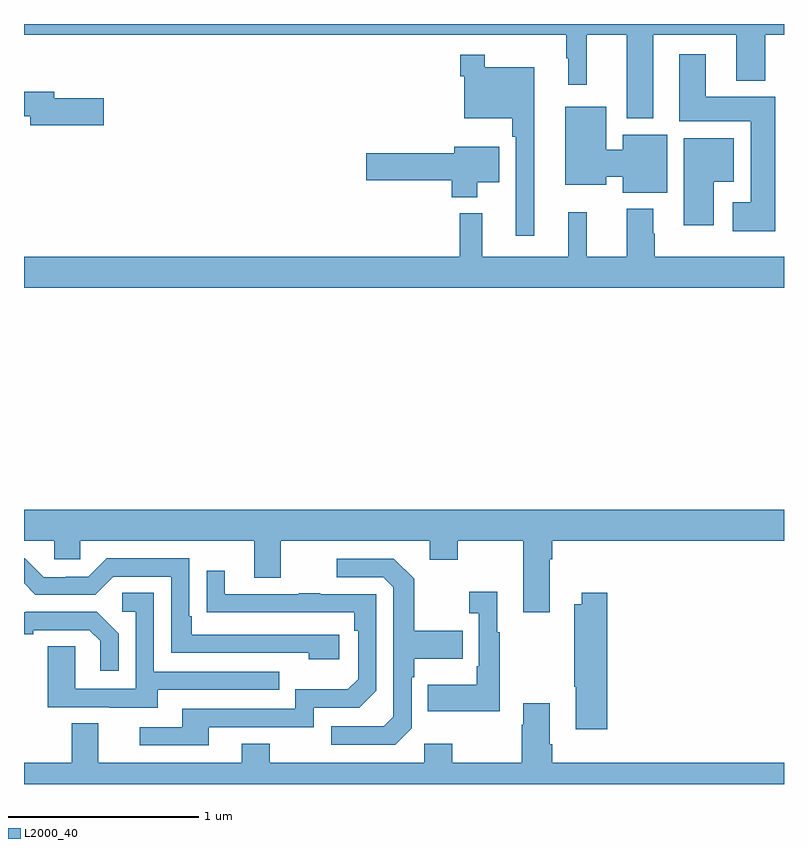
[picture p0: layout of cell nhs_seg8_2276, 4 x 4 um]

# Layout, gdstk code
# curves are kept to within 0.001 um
import gdstk
lib = gdstk.Library(unit=1e-6, precision=1e-09)
def P(c, l, *ps):  # polygons
    for p in ps: c.add(gdstk.Polygon(p, *l))
L2000_40 = (2000, 40)

nhs_seg8_2276 = lib.new_cell('nhs_seg8_2276')
P(nhs_seg8_2276, L2000_40, [(258.313,1105.844),(258.749,1105.844),(258.749,1105.601),(258.902,1105.601),(258.902,1105.844),(259,1105.844),(259,1105.9),(255,1105.9),(255,1105.844),(257.853,1105.844),(257.853,1105.721),(257.864,1105.721),(257.864,1105.581),(257.963,1105.581),(257.963,1105.844),(258.173,1105.844),(258.173,1105.403),(258.313,1105.403)],
  [(258.954,1105.516),(258.589,1105.516),(258.589,1105.741),(258.449,1105.741),(258.449,1105.388),(258.824,1105.388),(258.824,1104.961),(258.729,1104.961),(258.729,1104.809),(258.954,1104.809)],
  [(257.686,1105.672),(257.425,1105.672),(257.425,1105.738),(257.296,1105.738),(257.296,1105.625),(257.316,1105.625),(257.316,1105.403),(257.569,1105.403),(257.569,1105.307),(257.589,1105.307),(257.589,1104.786),(257.686,1104.786)],
  [(255.421,1105.509),(255.16,1105.509),(255.16,1105.543),(255,1105.543),(255,1105.414),(255.032,1105.414),(255.032,1105.367),(255.421,1105.367)],
  [(258.385,1105.318),(258.152,1105.318),(258.152,1105.238),(258.064,1105.238),(258.064,1105.465),(257.849,1105.465),(257.849,1105.055),(258.064,1105.055),(258.064,1105.096),(258.152,1105.096),(258.152,1105.013),(258.385,1105.013)],
  [(258.631,1105.07),(258.736,1105.07),(258.736,1105.3),(258.473,1105.3),(258.473,1104.84),(258.631,1104.84)],
  [(257.386,1105.067),(257.5,1105.067),(257.5,1105.255),(257.264,1105.255),(257.264,1105.22),(256.8,1105.22),(256.8,1105.078),(257.252,1105.078),(257.252,1104.989),(257.386,1104.989)],
  [(259,1104.676),(258.321,1104.676),(258.321,1104.797),(258.313,1104.797),(258.313,1104.928),(258.173,1104.928),(258.173,1104.676),(257.963,1104.676),(257.963,1104.91),(257.864,1104.91),(257.864,1104.676),(257.411,1104.676),(257.411,1104.904),(257.293,1104.904),(257.293,1104.676),(255,1104.676),(255,1104.512),(259,1104.512)],
  [(257.767,1103.084),(257.779,1103.084),(257.779,1103.18),(259,1103.18),(259,1103.344),(255,1103.344),(255,1103.18),(255.159,1103.18),(255.159,1103.082),(255.297,1103.082),(255.297,1103.18),(256.211,1103.18),(256.211,1102.986),(256.351,1102.986),(256.351,1103.18),(257.135,1103.18),(257.135,1103.081),(257.283,1103.081),(257.283,1103.18),(257.627,1103.18),(257.627,1102.803),(257.767,1102.803)],
  [(256.66,1102.686),(255.883,1102.686),(255.883,1102.783),(255.87,1102.783),(255.87,1103.088),(255.435,1103.088),(255.339,1102.992),(255.221,1102.992),(255.221,1102.989),(255.105,1102.989),(255.005,1103.089),(255,1103.089),(255,1102.956),(255.06,1102.896),(255.375,1102.896),(255.471,1102.992),(255.774,1102.992),(255.774,1102.59),(256.499,1102.59),(256.499,1102.556),(256.66,1102.556)],
  [(257.04,1102.194),(257.04,1102.463),(257.053,1102.463),(257.053,1102.559),(257.309,1102.559),(257.309,1102.707),(257.053,1102.707),(257.053,1102.979),(256.947,1103.085),(256.647,1103.085),(256.647,1102.989),(256.89,1102.989),(256.944,1102.935),(256.944,1102.254),(256.893,1102.203),(256.617,1102.203),(256.617,1102.107),(256.953,1102.107)],
  [(255.973,1102.2),(256.524,1102.2),(256.524,1102.302),(256.764,1102.302),(256.854,1102.392),(256.854,1102.899),(256.559,1102.899),(256.559,1102.904),(256.447,1102.904),(256.447,1102.899),(256.057,1102.899),(256.057,1103.023),(255.961,1103.023),(255.961,1102.804),(256.738,1102.803),(256.738,1102.706),(256.758,1102.706),(256.758,1102.452),(256.705,1102.399),(256.428,1102.399),(256.428,1102.296),(255.833,1102.296),(255.833,1102.2),(255.609,1102.2),(255.609,1102.104),(255.973,1102.104)],
  [(257.503,1102.699),(257.491,1102.699),(257.491,1102.912),(257.343,1102.912),(257.343,1102.799),(257.394,1102.799),(257.394,1102.519),(257.382,1102.519),(257.382,1102.423),(257.125,1102.423),(257.125,1102.283),(257.503,1102.283)],
  [(255.703,1102.395),(256.343,1102.395),(256.343,1102.491),(255.684,1102.491),(255.684,1102.907),(255.516,1102.907),(255.516,1102.806),(255.588,1102.806),(255.588,1102.401),(255.27,1102.401),(255.27,1102.625),(255.125,1102.625),(255.125,1102.305),(255.449,1102.305),(255.449,1102.301),(255.703,1102.301)],
  [(258.071,1102.906),(257.936,1102.906),(257.936,1102.846),(257.896,1102.846),(257.896,1102.411),(257.903,1102.411),(257.903,1102.188),(258.071,1102.188)],
  [(255.498,1102.69),(255.382,1102.806),(255.01,1102.806),(255.01,1102.803),(255,1102.803),(255,1102.688),(255.049,1102.688),(255.049,1102.71),(255.344,1102.71),(255.401,1102.653),(255.401,1102.497),(255.498,1102.497)],
  [(256.293,1102.111),(256.145,1102.111),(256.145,1102.012),(255.391,1102.012),(255.391,1102.22),(255.251,1102.22),(255.251,1102.012),(255,1102.012),(255,1101.9),(259,1101.9),(259,1102.012),(257.779,1102.012),(257.779,1102.108),(257.767,1102.108),(257.767,1102.324),(257.627,1102.324),(257.627,1102.211),(257.62,1102.211),(257.62,1102.012),(257.253,1102.012),(257.253,1102.111),(257.106,1102.111),(257.106,1102.012),(256.293,1102.012)])

lib.write_gds('nhs_seg8_2276.gds')
